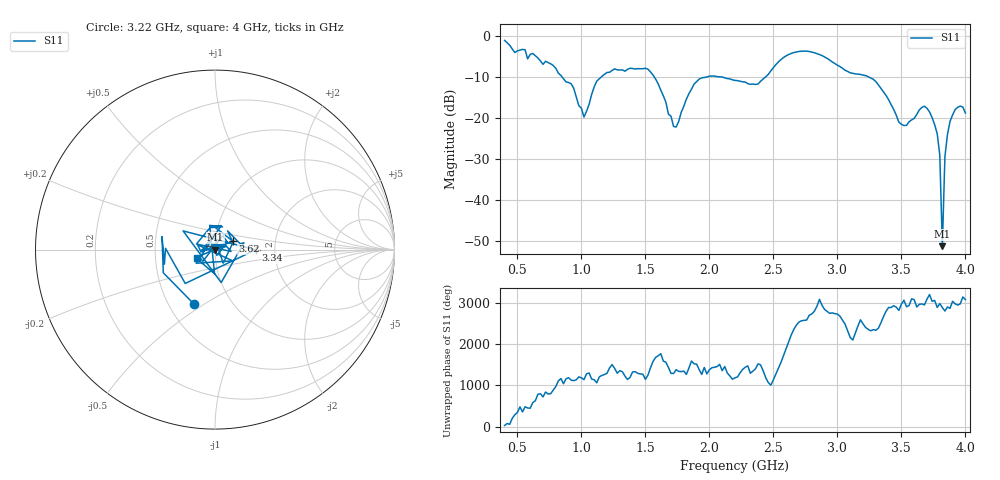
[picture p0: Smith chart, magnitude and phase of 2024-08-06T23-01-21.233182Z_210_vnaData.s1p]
!Created with skrf (http://scikit-rf.org).
# Hz S RI R 50.0
!freq ReS11 ImS11
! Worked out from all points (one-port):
!   181 points, 400 MHz to 4 GHz, reference 50 ohm
!   lowest |S11| = -51.3 dB at 3.82 GHz (marker M1), VSWR 1.01, Z = 50.3 + j0.0556 ohm
!   |S11| at or under -10 dB: 1.567 GHz to 1.989 GHz (421.8 MHz wide, 23.7 % of centre); 2.059 GHz to 2.442 GHz (382.9 MHz wide, 17 % of centre); 3.239 GHz to end of sweep (the widest 3 of 4)
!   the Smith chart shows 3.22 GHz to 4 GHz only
!   S11 on the Smith chart (normalised r, x): 3.22 GHz: 0.67, -0.45; 3.34 GHz: 1.59, -0.00; 3.62 GHz: 1.21, +0.12; 4 GHz: 0.81, -0.08
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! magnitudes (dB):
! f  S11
! 400 MHz  -1.2
! 860 MHz  -10.5
! 940 MHz  -12.8
! 1.02 GHz  -19.8
! 1.12 GHz  -11.1
! 1.3 GHz  -8.4
! 1.52 GHz  -8.2
! 1.6 GHz  -11.8
! 1.72 GHz  -22.1
! 1.76 GHz  -20.9
! 1.92 GHz  -10.6
! 2.2 GHz  -10.9
! 2.38 GHz  -11.8
! 2.66 GHz  -4.1
! 3.1 GHz  -9.1
! 3.22 GHz  -9.8
! 3.34 GHz  -12.9
! 3.48 GHz  -21.1
! 3.56 GHz  -21.0
! 3.62 GHz  -19.2
! 3.7 GHz  -17.7
! 3.78 GHz  -24.0
! 3.8 GHz  -29.1
! 3.82 GHz  -51.3
! 3.84 GHz  -29.5
! 3.86 GHz  -24.1
! 3.92 GHz  -18.0
! 4 GHz  -18.9
